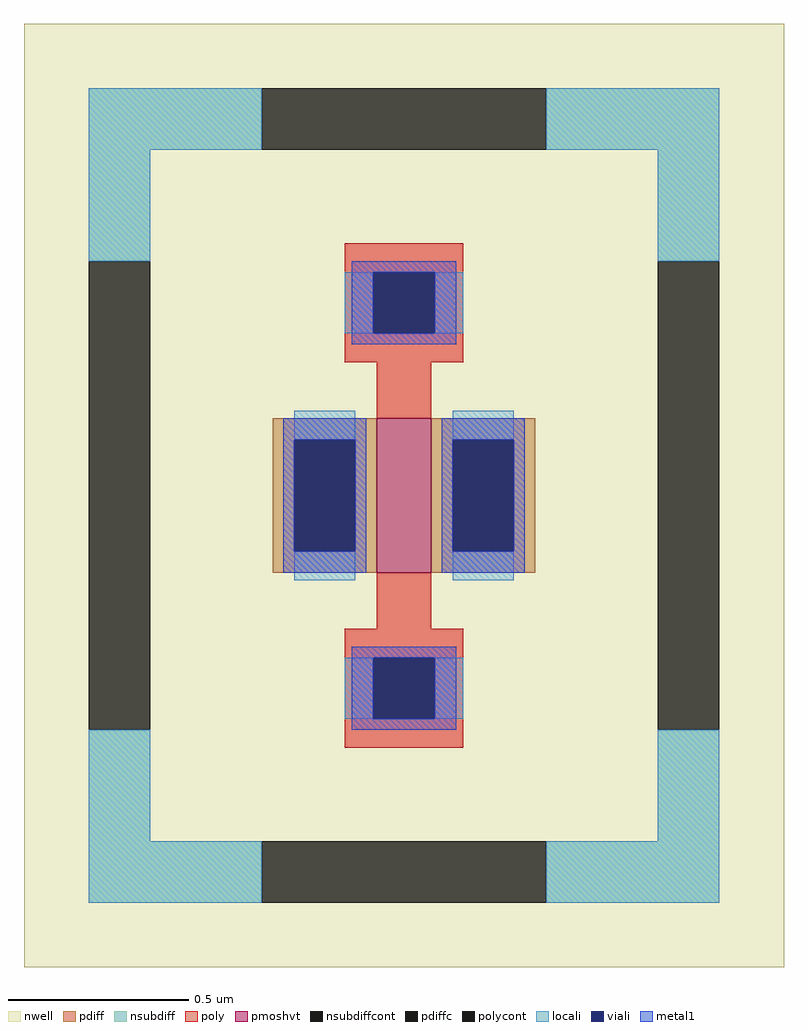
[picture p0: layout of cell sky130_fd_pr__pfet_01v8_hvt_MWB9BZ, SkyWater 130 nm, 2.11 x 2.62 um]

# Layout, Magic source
magic
tech sky130A
magscale 1 2
<< nwell >>
rect -211 -262 211 262
<< pmoshvt >>
rect -15 -43 15 43
<< pdiff >>
rect -73 31 -15 43
rect -73 -31 -61 31
rect -27 -31 -15 31
rect -73 -43 -15 -31
rect 15 31 73 43
rect 15 -31 27 31
rect 61 -31 73 31
rect 15 -43 73 -31
<< pdiffc >>
rect -61 -31 -27 31
rect 27 -31 61 31
<< nsubdiff >>
rect -175 192 -79 226
rect 79 192 175 226
rect -175 130 -141 192
rect 141 130 175 192
rect -175 -192 -141 -130
rect 141 -192 175 -130
rect -175 -226 -79 -192
rect 79 -226 175 -192
<< nsubdiffcont >>
rect -79 192 79 226
rect -175 -130 -141 130
rect 141 -130 175 130
rect -79 -226 79 -192
<< poly >>
rect -33 124 33 140
rect -33 90 -17 124
rect 17 90 33 124
rect -33 74 33 90
rect -15 43 15 74
rect -15 -74 15 -43
rect -33 -90 33 -74
rect -33 -124 -17 -90
rect 17 -124 33 -90
rect -33 -140 33 -124
<< polycont >>
rect -17 90 17 124
rect -17 -124 17 -90
<< locali >>
rect -175 192 -79 226
rect 79 192 175 226
rect -175 130 -141 192
rect 141 130 175 192
rect -33 90 -17 124
rect 17 90 33 124
rect -61 31 -27 47
rect -61 -47 -27 -31
rect 27 31 61 47
rect 27 -47 61 -31
rect -33 -124 -17 -90
rect 17 -124 33 -90
rect -175 -192 -141 -130
rect 141 -192 175 -130
rect -175 -226 -79 -192
rect 79 -226 175 -192
<< viali >>
rect -17 90 17 124
rect -61 -31 -27 31
rect 27 -31 61 31
rect -17 -124 17 -90
<< metal1 >>
rect -29 124 29 130
rect -29 90 -17 124
rect 17 90 29 124
rect -29 84 29 90
rect -67 31 -21 43
rect -67 -31 -61 31
rect -27 -31 -21 31
rect -67 -43 -21 -31
rect 21 31 67 43
rect 21 -31 27 31
rect 61 -31 67 31
rect 21 -43 67 -31
rect -29 -90 29 -84
rect -29 -124 -17 -90
rect 17 -124 29 -90
rect -29 -130 29 -124
<< properties >>
string FIXED_BBOX -158 -209 158 209
string gencell sky130_fd_pr__pfet_01v8_hvt
string library sky130
string parameters w 0.43 l 0.15 m 1 nf 1 diffcov 100 polycov 100 guard 1 glc 1 grc 1 gtc 1 gbc 1 tbcov 100 rlcov 100 topc 1 botc 1 poverlap 0 doverlap 1 lmin 0.15 wmin 0.42 compatible {sky130_fd_pr__pfet_01v8  sky130_fd_pr__pfet_01v8_lvt sky130_fd_pr__pfet_01v8_hvt  sky130_fd_pr__pfet_g5v0d10v5} full_metal 1 viasrc 100 viadrn 100 viagate 100 viagb 0 viagr 0 viagl 0 viagt 0
<< end >>
